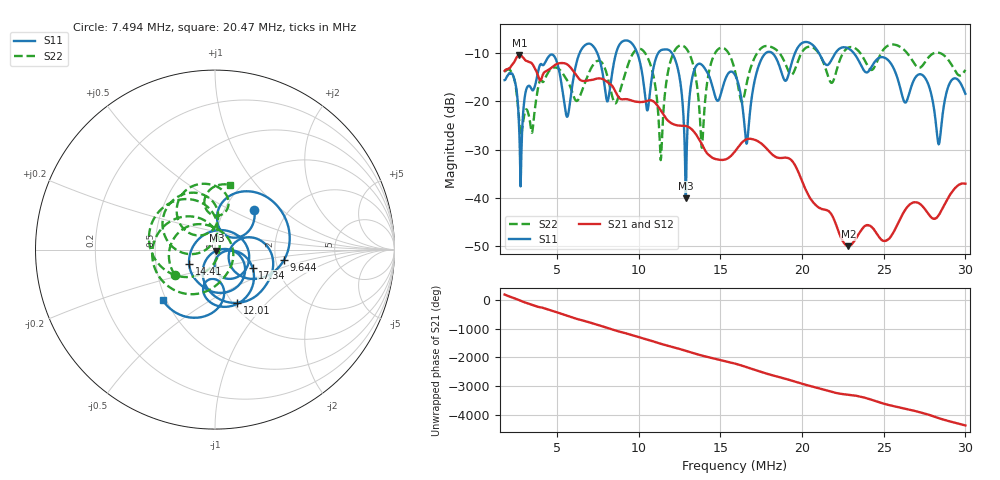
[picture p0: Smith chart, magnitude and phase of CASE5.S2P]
!Agilent Technologies,E5061B,MY49101568,A.02.00
!Date: Wed Mar 01 16:29:11 2023
!Data & Calibration Information:
!Freq	S11:SOLT2(OFF)	S21:SOLT2(OFF)	S12:SOLT2(OFF)	S22:SOLT2(OFF)
# Hz S dB R 50
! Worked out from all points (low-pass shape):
!   1155 points, 1.8 MHz to 30 MHz, reference 50 ohm
!   highest |S21| = -10.37 dB at 2.704 MHz (marker M1); lowest = -50.0 dB at 22.84 MHz (marker M2)
!   |S21| within 3 dB of the highest: 1.895 MHz to 3.688 MHz (1.793 MHz wide, 64.2 % of centre); 4.521 MHz to 5.929 MHz (1.408 MHz wide, 26.9 % of centre)
!   lowest |S11| = -40.1 dB at 12.89 MHz (marker M3), VSWR 1.02, Z = 50.8 - j0.644 ohm
!   |S11| at or under -10 dB: start of sweep to 6.387 MHz; 12.05 MHz to 17.77 MHz (5.729 MHz wide, 38.4 % of centre); 23.18 MHz to end of sweep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
!   |S22| runs from -32.2 to -8.2 dB; largest |S21 - S12| = 0.0041
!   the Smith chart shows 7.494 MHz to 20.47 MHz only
!   S11 on the Smith chart (normalised r, x): 7.494 MHz: 1.37, +0.67; 9.644 MHz: 2.23, -0.29; 12.01 MHz: 1.05, -0.69; 14.41 MHz: 0.74, -0.12; 17.34 MHz: 1.49, -0.32; 20.47 MHz: 0.48, -0.32
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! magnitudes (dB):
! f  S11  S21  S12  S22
! 1.8 MHz  -15.6  -13.7  -13.7  -13.7
! 2.704 MHz  -26.8  -10.4  -10.4  -24.5
! 5.661 MHz  -23.0  -12.4  -12.4  -15.8
! 6.516 MHz  -9.2  -15.7  -15.6  -18.0
! 7.494 MHz  -10.2  -15.2  -15.2  -11.6
! 8.105 MHz  -20.0  -16.1  -16.1  -15.0
! 9.644 MHz  -8.2  -19.9  -19.9  -10.1
! 10.52 MHz  -21.9  -19.9  -19.9  -10.7
! 11.21 MHz  -9.9  -21.1  -21.2  -22.9
! 12.01 MHz  -9.8  -24.6  -24.6  -11.0
! 12.89 MHz  -40.1  -25.1  -25.2  -8.9
! 13.87 MHz  -12.4  -28.9  -28.9  -29.6
! 14.41 MHz  -15.6  -31.5  -31.5  -12.4
! 15.9 MHz  -14.5  -30.4  -30.4  -13.7
! 16.61 MHz  -28.8  -27.9  -27.9  -16.4
! 17.34 MHz  -12.7  -28.3  -28.4  -9.6
! 20.47 MHz  -7.9  -39.9  -39.9  -8.6
! 20.62 MHz  -8.2  -40.7  -40.6  -8.8
! 22.84 MHz  -9.0  -50.0  -49.9  -8.8
! 25.31 MHz  -11.6  -48.5  -48.5  -8.4
! 28.36 MHz  -28.9  -43.7  -43.6  -9.9
! 30 MHz  -18.4  -37.1  -37.0  -13.5
